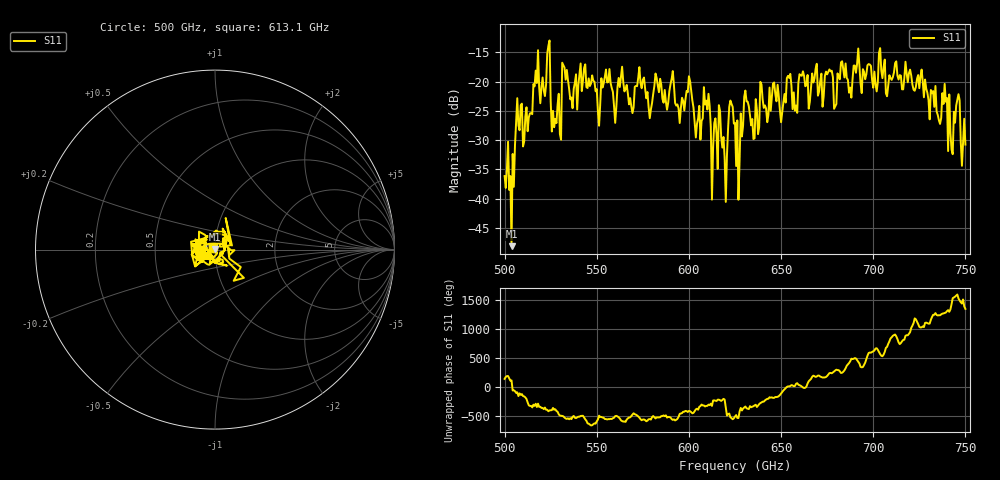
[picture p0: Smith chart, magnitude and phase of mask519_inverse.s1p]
!Created with skrf (http://scikit-rf.org).
# GHz S MA R 50.0
!freq magS11 angS11
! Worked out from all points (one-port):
!   401 points, 500 GHz to 750 GHz, reference 50 ohm
!   lowest |S11| = -48.2 dB at 503.8 GHz (marker M1), VSWR 1.01, Z = 49.9 + j0.362 ohm
!   |S11| at or under -10 dB: start of sweep to end of sweep
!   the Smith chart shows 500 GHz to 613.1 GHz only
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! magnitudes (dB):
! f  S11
! 500 GHz  -36.2
! 503.8 GHz  -48.2
! 507.5 GHz  -27.5
! 513.8 GHz  -25.4
! 516.9 GHz  -18.1
! 523.8 GHz  -13.9
! 526.9 GHz  -27.8
! 531.2 GHz  -16.8
! 532.5 GHz  -17.6
! 550.6 GHz  -25.0
! 562.5 GHz  -20.9
! 590.6 GHz  -19.5
! 593.8 GHz  -23.9
! 609.4 GHz  -23.2
! 619.4 GHz  -33.0
! 622.5 GHz  -23.2
! 625 GHz  -27.0
! 626.2 GHz  -26.6
! 631.2 GHz  -23.4
! 634.4 GHz  -26.4
! 656.2 GHz  -24.7
! 687.5 GHz  -21.0
! 718.8 GHz  -20.1
! 735.6 GHz  -26.6
! 738.8 GHz  -20.4
! 741.9 GHz  -28.8
! 745.6 GHz  -23.1
! 750 GHz  -30.8
